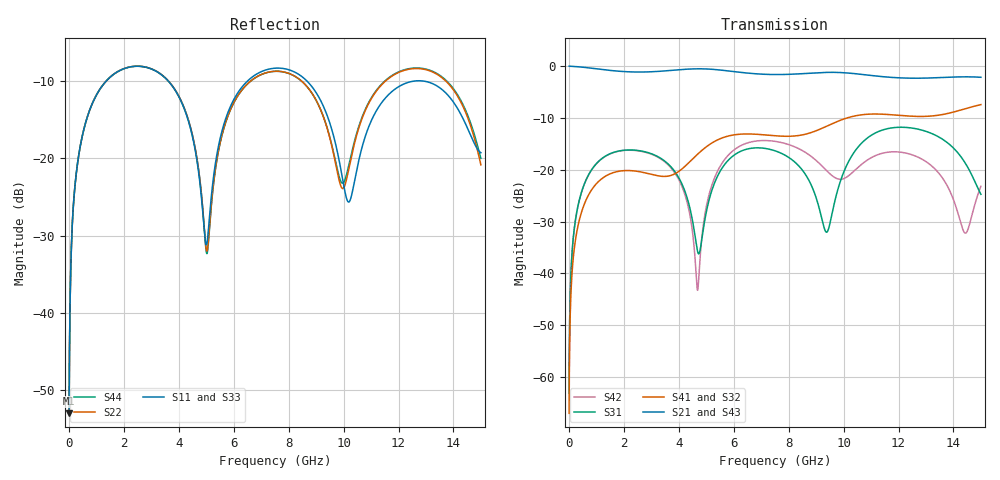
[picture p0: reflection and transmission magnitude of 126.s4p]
! Created with skrf 1.8.0 (http://scikit-rf.org).
# GHz S RI R 50.0
!freq ReS11 ImS11 ReS12 ImS12 ReS13 ImS13
! ReS14 ImS14
! ReS21 ImS21 ReS22 ImS22 ReS23 ImS23
! ReS24 ImS24
! ReS31 ImS31 ReS32 ImS32 ReS33 ImS33
! ReS34 ImS34
! ReS41 ImS41 ReS42 ImS42 ReS43 ImS43
! ReS44 ImS44
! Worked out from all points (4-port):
!   2499 points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, 5 MHz to 15 GHz, reference 50 ohm
!   strongest paths, dB at 5 MHz, 3.476 GHz, 7.19 GHz, 11.1 GHz, 15 GHz:
!     S21: 0.0, -0.9, -1.6, -1.9, -2.2
!     S43: 0.0, -0.9, -1.6, -1.9, -2.2
!     S41: -67.0, -21.3, -13.3, -9.2, -7.4
!     S32: -67.0, -21.3, -13.3, -9.2, -7.4
!     S31: -63.1, -18.3, -15.9, -13.1, -24.7
!     S42: -63.1, -18.4, -14.4, -17.4, -23.2
!   lowest |S11| = -53.0 dB at 5 MHz (marker M1), VSWR 1.00, Z = 50.2 + j0.136 ohm
!   |S11| at or under -10 dB: 3.61 GHz to 6.505 GHz (2.895 GHz wide, 57.3 % of centre); 8.662 GHz to 12.62 GHz (3.953 GHz wide, 37.2 % of centre); 12.87 GHz to end of sweep (the widest 3 of 4)
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0.005  0.00179 0.00136  0.9982 -0.00348  8.98e-05 0.000696  -8.73e-05 -0.000439
       0.9982 -0.00348  0.00179 0.00136  -8.73e-05 -0.000439  8.98e-05 0.000696
       8.98e-05 0.000696  -8.73e-05 -0.000439  0.00179 0.00136  0.9982 -0.00348
       -8.73e-05 -0.000439  8.98e-05 0.000696  0.9982 -0.00348  0.00179 0.00136
0.3126303  0.0278 0.0887  0.962 -0.2156  0.0128 0.0409  -0.0106 -0.0254
           0.962 -0.2156  0.0278 0.0887  -0.0106 -0.0254  0.0127 0.0409
           0.0128 0.0409  -0.0106 -0.0254  0.0278 0.0887  0.962 -0.2156
           -0.0106 -0.0254  0.0127 0.0409  0.962 -0.2156  0.0278 0.0887
1.569404  0.3006 0.1646  0.48 -0.7666  0.1367 0.0495  -0.0928 0.00526
          0.48 -0.7666  0.301 0.1642  -0.0928 0.00524  0.1356 0.0513
          0.1367 0.0495  -0.0928 0.00524  0.3006 0.1646  0.48 -0.7666
          -0.0928 0.00526  0.1356 0.0513  0.48 -0.7666  0.3011 0.1642
4.683201  0.0437 -0.0796  -0.9019 -0.2699  -0.015 -0.0064  -0.036 0.1366
          -0.9019 -0.2699  0.042 -0.0837  -0.0359 0.1366  0.00688 2.2e-05
          -0.015 -0.0064  -0.0359 0.1366  0.0445 -0.0797  -0.9019 -0.2699
          -0.036 0.1366  0.00688 2.2e-05  -0.9019 -0.2699  0.0414 -0.0842
7.634431  0.3825 -0.0132  -0.0639 0.8262  0.1418 -0.0421  0.2058 -0.049
          -0.0639 0.8262  0.3649 -0.00335  0.2053 -0.0485  0.1475 -0.1124
          0.1418 -0.0421  0.2053 -0.0485  0.3826 -0.0165  -0.0635 0.8262
          0.2058 -0.049  0.1475 -0.1124  -0.0635 0.8262  0.3646 -0.00041
10.41059  0.0624 0.038  0.8431 -0.0623  0.1171 0.0953  -0.0425 -0.3278
          0.8431 -0.0623  0.0915 0.0889  -0.0414 -0.3286  -0.0213 0.0965
          0.1171 0.0953  -0.0414 -0.3286  0.0575 0.0391  0.8428 -0.0634
          -0.0425 -0.3278  -0.0213 0.0965  0.8428 -0.0634  0.097 0.0891
15  0.1084 -0.00531  -0.7387 -0.2501  -0.0565 0.0129  -0.13 0.4046
    -0.7387 -0.2501  0.0683 -0.0596  -0.1312 0.405  -0.00268 0.0692
    -0.0565 0.0129  -0.1312 0.405  0.1042 -0.0129  -0.7384 -0.2501
    -0.13 0.4046  -0.00268 0.0692  -0.7384 -0.2501  0.0763 -0.0643
